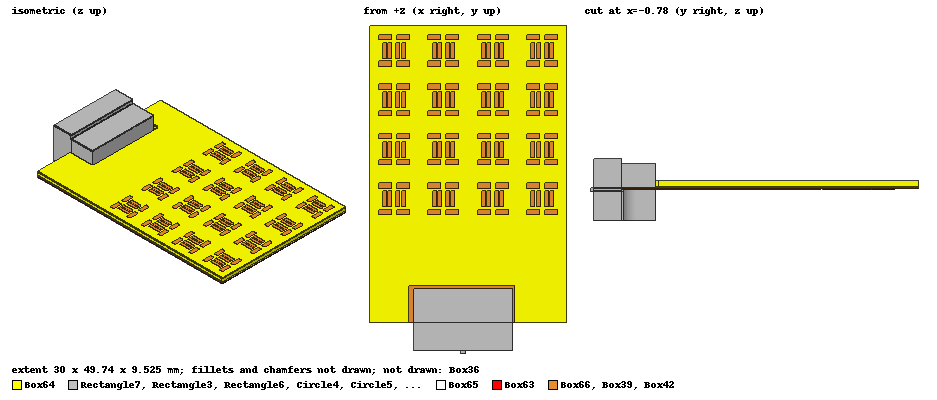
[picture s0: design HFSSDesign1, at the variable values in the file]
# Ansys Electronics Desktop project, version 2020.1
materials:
  vacuum: permittivity=1
  Rogers RT/duroid 5880 (tm): permittivity=2.2 dielectric_loss_tangent=0.0009
  pec: conductivity=1e+30
  Rogers RO4350 (tm): permittivity=3.66 dielectric_loss_tangent=0.004
  copper: permeability=0.999991 conductivity=58000000
  Material1: permittivity=6.5
  air: permittivity=1.0006 permeability=1.0000004
  Rogers RT/duroid 6002 (tm): permittivity=2.94 dielectric_loss_tangent=0.0012
  RO4450: permittivity=3.52
  Rogers RO3003 (tm): permittivity=3 dielectric_loss_tangent=0.0013
  Rogers RT/duroid 6006 (tm): permittivity=6.15 dielectric_loss_tangent=0.0019
  Rogers RO4003 (tm): permittivity=3.55 dielectric_loss_tangent=0.0027
  Rogers RT/duroid 6010/6010LM (tm): permittivity=10.2 dielectric_loss_tangent=0.0023
  FR-27: permittivity=2.7
  titanium: permeability=1.00018 conductivity=1820000
  Taconic RF-30 (tm): permittivity=3 dielectric_loss_tangent=0.0014
  TPN-30: permittivity=3
  Rogers RO3006 (tm): permittivity=6.15 dielectric_loss_tangent=0.0025
  RO3001: permittivity=2.2
  Rogers RO4232 (tm): permittivity=3.2 dielectric_loss_tangent=0.0018
  RO4403: permittivity=3.17
  FR-25: permittivity=2.5
  Teflon(changed): permittivity=3.5
  perfect conductor: conductivity=1e+30
  teflon(change): permittivity=1.95 dielectric_loss_tangent=0.001

design HFSSDesign1 (HFSS, DrivenModal, model units mm)
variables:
  hf = 0.762mm
  sub_l = 7.5mm
  h1 = 0.762mm
  wf = 0.36mm  # 0.25
  h3 = 0.127mm
  hp1 = 4.9mil
  hp2 = (2.1*5) mil
  t = 0.035mm
  w1 = 0.43mm  # 0.45
  l2 = 6.7mm  # 6
  w2 = wm  # 1.6
  l5 = 0.3mm  # 0.5
  lf = 2.6mm
  lm = 1.78mm
  wm = 0.26mm  # 0.26
  r2 = 0.15mm
  dvia = 2mm
  we = 0.8mm
  le = 1.95mm
  dvia1 = 0.8mm
  lb = 2.4mm
  wb = 0.6mm
  db = 0.3mm
  dd = 0.8mm
  ls = 1.6mm
  s = 7.5mm
  ll6 = s
  ll3 = s*2-ll7*2-v11
  ll7 = 1.6mm
  k1 = 0.25mm
  ll4 = 1mm
  ll2 = (2*s-v11)/2
  ll8 = 1mm
  v11 = 0.62mm
  l1 = 4.5mm
  l3 = 20mm
  d1 = 0.4mm
  di = 0.1mm
  kk = 0.36mm
  ss4 = 0.57mm
  ss3 = 0.2mm
  ss6 = 0.65mm
  ss5 = 2.2mm
  kk1 = 0.13mm
  l6 = 1.6mm
  l7 = 1mm
  c1 = 0.15mm  # qiejiao
  c2 = 3.13mm  # qiejiao
  c3 = (sub_l-wf)/2-wf/2
  c4 = 0.15mm
  c5 = 0.8mm
  c6 = 0.18mm
  cd = 0.05mm
  c7 = 0.15mm
  c8 = (sub_l-l6-wf*2)
  c9 = 0.15mm
  c10 = 0.24mm
  c11 = 0.8mm
  c12 = 0.24mm
  c13 = 0.8mm
  R1 = 0.0635mm
  Hco = 0.035mm
  Hsub1 = 0.127mm
  ELC_L4 = 4.88mm
  ELC_W1 = 15mm
  ELC_L5 = 1.175mm
  ELC_H1 = 4.8006mm
  ELC_L3 = 0.2mm
  ELC_R2 = 0.37465mm
  ELC_R3 = 2mm
  ELC_H2 = 3.6925mm
  ELC_L6 = 4.2418mm
  ELC_H3 = 9.525mm
  ELC_R4 = 0.1143mm
  ELC_L2 = 1.27mm
  Lex1 = 0mm
  Rex1 = 0.5mm
  Ro1 = 0.15mm
  ELC_d = 0.5mm
  cc = 0.1mm
  ro = 65deg
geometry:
  Box20 = box(corner=(-sub_l/2, -sub_l/2, t*2), size=(sub_l, sub_l, t))
  Box26 = box(corner=(-sub_l/2+lf, -wm/2, -h3+t), size=(lm, wm, t))
  Box29 = box(corner=(-w1/2, -l2/2, t*2), size=(w1, l2, t))
  Box35 = box(corner=(-sub_l/2+lf+lm, -w2/2, -h3+t), size=(l5, w2, t))
  Box36 [air] = box(corner=(-sub_l*2-2mm, -sub_l*4-6mm, -h3+t-6mm), size=(sub_l*4+4mm, sub_l*6+8mm, h3+h3+hp1+hf+h1+hp2+10mm))
  Box39 [copper] = box(corner=(-sub_l/2, -wf/2, -h3+t), size=(lf, wf, t))
  Box39.unite(Box35, Box26)
  Cylinder34 = cylinder(axis=Z, base_centre=(-dvia1, dvia, t*2-h3), radius=r2, height=hf+hp2+h3+t)
  Cylinder34_1 [copper] = Cylinder34.duplicate_mirror(point=(0mm, 0mm, 0mm), normal=(0mm, -1mm, 0mm))
  Box42 [copper] = box(corner=(-we/2+dvia1, dvia-we/2, 3*t+hf+hp2), size=(le, we, t))
  Box42_1 = Box42.duplicate_mirror(point=(0mm, 0mm, 0mm), normal=(0mm, -1mm, 0mm))
  [Box42_1, Box42].mirror(point=(0mm, 0mm, 0mm), normal=(-1mm, 0mm, 0mm))
  Box20.subtract(Box29)
  Cylinder34_1.unite(Cylinder34)
  Cylinder34_1_1 = Cylinder34_1.duplicate_mirror(point=(0mm, 0mm, 0mm), normal=(1mm, 0mm, 0mm))
  Box42.unite(Box42_1)
  Box42_2 = Box42.duplicate_mirror(point=(0mm, 0mm, 0mm), normal=(1mm, 0mm, 0mm))
  Box43 = box(corner=(db, -lb/2, 3*t+hf+hp2), size=(wb, lb, t))
  Box43_1 = Box43.duplicate_mirror(point=(0mm, 0mm, 0mm), normal=(-1mm, 0mm, 0mm))
  Box43_1.duplicate_along_line(step=(-dd, 0mm, 0mm), total=2, attached)
  Box43.duplicate_along_line(step=(dd, 0mm, 0mm), total=2, attached)
  [Box20, Box39, Cylinder34_1, Box42, Cylinder34_1_1, Box42_2, Box43, Box43_1].move(-sub_l*1.5, -sub_l*1.5, 0mm)
  Box20_1, Box20_2, Box20_3 = Box20.duplicate_along_line(step=(0mm, sub_l, 0mm), total=4)
  Box39_1, Box39_2, Box39_3 = Box39.duplicate_along_line(step=(0mm, sub_l, 0mm), total=4)
  Cylinder34_1_3, Cylinder34_1_4, Cylinder34_1_5 = Cylinder34_1.duplicate_along_line(step=(0mm, sub_l, 0mm), total=4)
  Box42_3, Box42_4, Box42_5 = Box42.duplicate_along_line(step=(0mm, sub_l, 0mm), total=4)
  Cylinder34_1_1_1, Cylinder34_1_1_2, Cylinder34_1_1_3 = Cylinder34_1_1.duplicate_along_line(step=(0mm, sub_l, 0mm), total=4)
  Box42_2_1, Box42_2_2, Box42_2_3 = Box42_2.duplicate_along_line(step=(0mm, sub_l, 0mm), total=4)
  Box43_2, Box43_3, Box43_4 = Box43.duplicate_along_line(step=(0mm, sub_l, 0mm), total=4)
  Box43_1_1, Box43_1_2, Box43_1_3 = Box43_1.duplicate_along_line(step=(0mm, sub_l, 0mm), total=4)
  Box20_4, Box20_5, Box20_6 = Box20.duplicate_along_line(step=(sub_l, 0mm, 0mm), total=4)
  Box39_4, Box39_5, Box39_6 = Box39.duplicate_along_line(step=(sub_l, 0mm, 0mm), total=4)
  Cylinder34_1_6, Cylinder34_1_7, Cylinder34_1_8 = Cylinder34_1.duplicate_along_line(step=(sub_l, 0mm, 0mm), total=4)
  Box42_6, Box42_7, Box42_8 = Box42.duplicate_along_line(step=(sub_l, 0mm, 0mm), total=4)
  Cylinder34_1_1_4, Cylinder34_1_1_5, Cylinder34_1_1_6 = Cylinder34_1_1.duplicate_along_line(step=(sub_l, 0mm, 0mm), total=4)
  Box42_2_4, Box42_2_5, Box42_2_6 = Box42_2.duplicate_along_line(step=(sub_l, 0mm, 0mm), total=4)
  Box43_5, Box43_6, Box43_7 = Box43.duplicate_along_line(step=(sub_l, 0mm, 0mm), total=4)
  Box43_1_4, Box43_1_5, Box43_1_6 = Box43_1.duplicate_along_line(step=(sub_l, 0mm, 0mm), total=4)
  Box20_1_1, Box20_1_2, Box20_1_3 = Box20_1.duplicate_along_line(step=(sub_l, 0mm, 0mm), total=4)
  Box20_2_1, Box20_2_2, Box20_2_3 = Box20_2.duplicate_along_line(step=(sub_l, 0mm, 0mm), total=4)
  Box20_3_1, Box20_3_2, Box20_3_3 = Box20_3.duplicate_along_line(step=(sub_l, 0mm, 0mm), total=4)
  Box39_1_1, Box39_1_2, Box39_1_3 = Box39_1.duplicate_along_line(step=(sub_l, 0mm, 0mm), total=4)
  Box39_2_1, Box39_2_2, Box39_2_3 = Box39_2.duplicate_along_line(step=(sub_l, 0mm, 0mm), total=4)
  Box39_3_1, Box39_3_2, Box39_3_3 = Box39_3.duplicate_along_line(step=(sub_l, 0mm, 0mm), total=4)
  Cylinder34_1_3_1, Cylinder34_1_3_2, Cylinder34_1_3_3 = Cylinder34_1_3.duplicate_along_line(step=(sub_l, 0mm, 0mm), total=4)
  Cylinder34_1_4_1, Cylinder34_1_4_2, Cylinder34_1_4_3 = Cylinder34_1_4.duplicate_along_line(step=(sub_l, 0mm, 0mm), total=4)
  Cylinder34_1_5_1, Cylinder34_1_5_2, Cylinder34_1_5_3 = Cylinder34_1_5.duplicate_along_line(step=(sub_l, 0mm, 0mm), total=4)
  Box42_3_1, Box42_3_2, Box42_3_3 = Box42_3.duplicate_along_line(step=(sub_l, 0mm, 0mm), total=4)
  Box42_4_1, Box42_4_2, Box42_4_3 = Box42_4.duplicate_along_line(step=(sub_l, 0mm, 0mm), total=4)
  Box42_5_1, Box42_5_2, Box42_5_3 = Box42_5.duplicate_along_line(step=(sub_l, 0mm, 0mm), total=4)
  Cylinder34_1_1_1_1, Cylinder34_1_1_1_2, Cylinder34_1_1_1_3 = Cylinder34_1_1_1.duplicate_along_line(step=(sub_l, 0mm, 0mm), total=4)
  Cylinder34_1_1_2_1, Cylinder34_1_1_2_2, Cylinder34_1_1_2_3 = Cylinder34_1_1_2.duplicate_along_line(step=(sub_l, 0mm, 0mm), total=4)
  Cylinder34_1_1_3_1, Cylinder34_1_1_3_2, Cylinder34_1_1_3_3 = Cylinder34_1_1_3.duplicate_along_line(step=(sub_l, 0mm, 0mm), total=4)
  Box42_2_1_1, Box42_2_1_2, Box42_2_1_3 = Box42_2_1.duplicate_along_line(step=(sub_l, 0mm, 0mm), total=4)
  Box42_2_2_1, Box42_2_2_2, Box42_2_2_3 = Box42_2_2.duplicate_along_line(step=(sub_l, 0mm, 0mm), total=4)
  Box42_2_3_1, Box42_2_3_2, Box42_2_3_3 = Box42_2_3.duplicate_along_line(step=(sub_l, 0mm, 0mm), total=4)
  Box43_2_1, Box43_2_2, Box43_2_3 = Box43_2.duplicate_along_line(step=(sub_l, 0mm, 0mm), total=4)
  Box43_3_1, Box43_3_2, Box43_3_3 = Box43_3.duplicate_along_line(step=(sub_l, 0mm, 0mm), total=4)
  Box43_4_1, Box43_4_2, Box43_4_3 = Box43_4.duplicate_along_line(step=(sub_l, 0mm, 0mm), total=4)
  Box43_1_1_1, Box43_1_1_2, Box43_1_1_3 = Box43_1_1.duplicate_along_line(step=(sub_l, 0mm, 0mm), total=4)
  Box43_1_2_1, Box43_1_2_2, Box43_1_2_3 = Box43_1_2.duplicate_along_line(step=(sub_l, 0mm, 0mm), total=4)
  Box43_1_3_1, Box43_1_3_2, Box43_1_3_3 = Box43_1_3.duplicate_along_line(step=(sub_l, 0mm, 0mm), total=4)
  Box61 = box(corner=(sub_l*1.5-ls, -sub_l*2, -h3+t), size=(-(sub_l/2-ls), sub_l*4, t))
  Box61_1, Box61_2, Box61_3 = Box61.duplicate_along_line(step=(-sub_l, 0mm, 0mm), total=4)
  Box61_4 = Box61.copy()
  Box61_1_1 = Box61_1.copy()
  Box61_2_1 = Box61_2.copy()
  Box61_3_1 = Box61_3.copy()
  Box39.subtract(Box61_4, Box61_1_1, Box61_2_1, Box61_3_1)
  Box61_5 = Box61.copy()
  Box61_1_2 = Box61_1.copy()
  Box61_2_2 = Box61_2.copy()
  Box61_3_2 = Box61_3.copy()
  Box39_1.subtract(Box61_5, Box61_1_2, Box61_2_2, Box61_3_2)
  Box61_6 = Box61.copy()
  Box61_1_3 = Box61_1.copy()
  Box61_2_3 = Box61_2.copy()
  Box61_3_3 = Box61_3.copy()
  Box39_1_1.subtract(Box61_6, Box61_1_3, Box61_2_3, Box61_3_3)
  Box61_7 = Box61.copy()
  Box61_1_4 = Box61_1.copy()
  Box61_2_4 = Box61_2.copy()
  Box61_3_4 = Box61_3.copy()
  Box39_1_2.subtract(Box61_7, Box61_1_4, Box61_2_4, Box61_3_4)
  Box61_8 = Box61.copy()
  Box61_1_5 = Box61_1.copy()
  Box61_2_5 = Box61_2.copy()
  Box61_3_5 = Box61_3.copy()
  Box39_1_3.subtract(Box61_8, Box61_1_5, Box61_2_5, Box61_3_5)
  Box61_9 = Box61.copy()
  Box61_1_6 = Box61_1.copy()
  Box61_2_6 = Box61_2.copy()
  Box61_3_6 = Box61_3.copy()
  Box39_2.subtract(Box61_9, Box61_1_6, Box61_2_6, Box61_3_6)
  Box61_10 = Box61.copy()
  Box61_1_7 = Box61_1.copy()
  Box61_2_7 = Box61_2.copy()
  Box61_3_7 = Box61_3.copy()
  Box39_2_1.subtract(Box61_10, Box61_1_7, Box61_2_7, Box61_3_7)
  Box61_11 = Box61.copy()
  Box61_1_8 = Box61_1.copy()
  Box61_2_8 = Box61_2.copy()
  Box61_3_8 = Box61_3.copy()
  Box39_2_2.subtract(Box61_11, Box61_1_8, Box61_2_8, Box61_3_8)
  Box61_12 = Box61.copy()
  Box61_1_9 = Box61_1.copy()
  Box61_2_9 = Box61_2.copy()
  Box61_3_9 = Box61_3.copy()
  Box39_2_3.subtract(Box61_12, Box61_1_9, Box61_2_9, Box61_3_9)
  Box61_13 = Box61.copy()
  Box61_1_10 = Box61_1.copy()
  Box61_2_10 = Box61_2.copy()
  Box61_3_10 = Box61_3.copy()
  Box39_3.subtract(Box61_13, Box61_1_10, Box61_2_10, Box61_3_10)
  Box61_14 = Box61.copy()
  Box61_1_11 = Box61_1.copy()
  Box61_2_11 = Box61_2.copy()
  Box61_3_11 = Box61_3.copy()
  Box39_3_1.subtract(Box61_14, Box61_1_11, Box61_2_11, Box61_3_11)
  Box61_15 = Box61.copy()
  Box61_1_12 = Box61_1.copy()
  Box61_2_12 = Box61_2.copy()
  Box61_3_12 = Box61_3.copy()
  Box39_3_2.subtract(Box61_15, Box61_1_12, Box61_2_12, Box61_3_12)
  Box61_16 = Box61.copy()
  Box61_1_13 = Box61_1.copy()
  Box61_2_13 = Box61_2.copy()
  Box61_3_13 = Box61_3.copy()
  Box39_3_3.subtract(Box61_16, Box61_1_13, Box61_2_13, Box61_3_13)
  Box61_17 = Box61.copy()
  Box61_1_14 = Box61_1.copy()
  Box61_2_14 = Box61_2.copy()
  Box61_3_14 = Box61_3.copy()
  Box39_4.subtract(Box61_17, Box61_1_14, Box61_2_14, Box61_3_14)
  Box61_18 = Box61.copy()
  Box61_1_15 = Box61_1.copy()
  Box61_2_15 = Box61_2.copy()
  Box61_3_15 = Box61_3.copy()
  Box39_5.subtract(Box61_18, Box61_1_15, Box61_2_15, Box61_3_15)
  Box39_6.subtract(Box61, Box61_1, Box61_2, Box61_3)
  Box39.unite(Box39_1, Box39_1_1, Box39_1_2, Box39_1_3, Box39_2, Box39_2_1, Box39_2_2, Box39_2_3, Box39_3, Box39_3_1, Box39_3_2, Box39_3_3, Box39_4, Box39_5, Box39_6)
  Box20_6.unite(Box20_5, Box20_4, Box20_3_3, Box20_3_2, Box20_3_1, Box20_3, Box20_2_3, Box20_2_2, Box20_2_1, Box20_2, Box20_1_3, Box20_1_2, Box20_1_1, Box20_1, Box20)
  coordinate_system RelativeCS3 = origin=(s/2+ll7+ll3/2+v11/2, k1-ll4+ll6/2+ll8+ll2, 0) x=(1mm, 0mm, 0mm) y=(0mm, 1mm, 0mm)
  coordinate_system RelativeCS4 = origin=(s/2, k1-ll4-v11/2+ll6/2, 0mm) x=(1mm, 0mm, 0mm) y=(0mm, 1mm, 0mm)
  Cylinder34_1.unite(Cylinder34_1_1, Cylinder34_1_1_1, Cylinder34_1_1_1_1, Cylinder34_1_1_1_2, Cylinder34_1_1_1_3, Cylinder34_1_1_2, Cylinder34_1_1_2_1, Cylinder34_1_1_2_2, Cylinder34_1_1_2_3, Cylinder34_1_1_3, Cylinder34_1_1_3_1, Cylinder34_1_1_3_2, Cylinder34_1_1_3_3, Cylinder34_1_1_4, Cylinder34_1_1_5, Cylinder34_1_1_6, Cylinder34_1_3, Cylinder34_1_3_1, Cylinder34_1_3_2, Cylinder34_1_3_3, Cylinder34_1_4, Cylinder34_1_4_1, Cylinder34_1_4_2, Cylinder34_1_4_3, Cylinder34_1_5, Cylinder34_1_5_1, Cylinder34_1_5_2, Cylinder34_1_5_3, Cylinder34_1_6, Cylinder34_1_7, Cylinder34_1_8)
  Box63 [Rogers RT/duroid 5880 (tm)] = box(corner=(-sub_l*2, -sub_l*4, -h3+t*2), size=(sub_l*4, sub_l*6, h3))
  Box64 [Rogers RT/duroid 5880 (tm)] = box(corner=(-sub_l*2, -sub_l*4, 3*t+hp2), size=(sub_l*4, sub_l*6, hf))
  Box65 [FR-25] = box(corner=(-sub_l*2, -sub_l*4, t*3), size=(sub_l*4, sub_l*6, hp2))
  Box42.unite(Box42_2, Box42_2_1, Box42_2_1_1, Box42_2_1_2, Box42_2_1_3, Box42_2_2, Box42_2_2_1, Box42_2_2_2, Box42_2_2_3, Box42_2_3, Box42_2_3_1, Box42_2_3_2, Box42_2_3_3, Box42_2_4, Box42_2_5, Box42_2_6, Box42_3, Box42_3_1, Box42_3_2, Box42_3_3, Box42_4, Box42_4_1, Box42_4_2, Box42_4_3, Box42_5, Box42_5_1, Box42_5_2, Box42_5_3, Box42_6, Box42_7, Box42_8, Box43, Box43_1, Box43_1_1, Box43_1_1_1, Box43_1_1_2, Box43_1_1_3, Box43_1_2, Box43_1_2_1, Box43_1_2_2, Box43_1_2_3, Box43_1_3, Box43_1_3_1, Box43_1_3_2, Box43_1_3_3, Box43_1_4, Box43_1_5, Box43_1_6, Box43_2, Box43_2_1, Box43_2_2, Box43_2_3, Box43_3, Box43_3_1, Box43_3_2, Box43_3_3, Box43_4, Box43_4_1, Box43_4_2, Box43_4_3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)
  Box66 [copper] = box(corner=(-sub_l*2, -sub_l*4, t*2), size=(sub_l*4, sub_l*2, t))
  coordinate_system RelativeCS5 = origin=(s/2+ll7+ll3/2+v11/2, k1-ll4+ll6/2+ll8+ll2, 0) x=(1mm, 0mm, 0mm) y=(0mm, 1mm, 0mm)
  coordinate_system RelativeCS6 = origin=(s/2, k1-ll4-v11/2+ll6/2, 0mm) x=(1mm, 0mm, 0mm) y=(0mm, 1mm, 0mm)
  coordinate_system RelativeCS7 = origin=(s/2+ll7+ll3/2+v11/2, k1-ll4+ll6/2+ll8+ll2, 0) x=(1mm, 0mm, 0mm) y=(0mm, 1mm, 0mm)
  coordinate_system RelativeCS8 = origin=(s/2, k1-ll4-v11/2+ll6/2, 0mm) x=(1mm, 0mm, 0mm) y=(0mm, 1mm, 0mm)
  k3 = cylinder(axis=Z, base_centre=(-ss5, v11/2+ss6, -h3+t*2), radius=di, height=h3+t)
  k3_7, k3_1..k3_6 = k3.duplicate_along_line(step=(-kk, kk1, 0mm), total=8)
  k2 = cylinder(axis=Z, base_centre=(-ss5, -v11/2-ss6, -h3+t*2), radius=di, height=h3+t)
  k2_1..k2_7 = k2.duplicate_along_line(step=(-kk, -kk1, 0mm), total=8)
  k1 = cylinder(axis=Z, base_centre=(-ss3, v11/2+ss4, -h3+t*2), radius=di, height=h3+t)
  k1_1..k1_12 = k1.duplicate_along_line(step=(0mm, d1, 0mm), total=14)  # copies kept: 1..12
  k1_14..k1_17 = k1.duplicate_along_line(step=(-d1, 0mm, 0mm), total=5)
  k = cylinder(axis=Z, base_centre=(-ss3, -v11/2-ss4, -h3+t*2), radius=di, height=h3+t)
  k_1..k_12 = k.duplicate_along_line(step=(0mm, -d1, 0mm), total=14)  # copies kept: 1..12
  k_14..k_17 = k.duplicate_along_line(step=(-d1, 0mm, 0mm), total=6)  # copies kept: 1..4
  k3_7.unite(k3_6, k3_5, k3_4, k3_3, k3_2, k3_1, k3, k2_7, k2_6, k2_5, k2_4, k2_3, k2_2, k2_1, k2, k1_17, k1_16, k1_14, k1_15, k1_12, k1_11, k1_10, k1_8, k1_9, k1_7, k1_6, k1_5, k1_4, k1_3, k1_2, k1_1, k_17, k1, k_16, k_15, k_14, k_12, k_11, k_10, k_9, k_8, k_7, k_6, k_5, k_4, k_3, k_2, k_1, k)
  Box67 = box(corner=(sub_l*1.5-ls, sub_l/2-wf/2, -h3+t), size=(-wf, sub_l+wf, t))
  Box67_1 = Box67.duplicate_along_line(step=(-sub_l, 0mm, 0mm), total=2)
  Box68 = box(corner=(sub_l/2-ls, sub_l-wf/2, -h3+t), size=(sub_l, wf, t))
  Box69 = box(corner=(sub_l-ls-wf, sub_l-wf/2, -h3+t), size=(wf, -l6, t))
  Box70 = box(corner=(sub_l-ls-wf, sub_l-wf/2-l6-wf, -h3+t), size=(l7, wf, t))
  Box71 = box(corner=(sub_l-ls-wf+l7, sub_l-wf/2-l6, -h3+t), size=(wf, -(sub_l-wf/2-l6), t))
  Box72 = box(corner=(sub_l*1.5-ls, sub_l-wf/2, -h3+t), size=(-c1, -c2, t))
  Box73 = box(corner=(sub_l*1.5-ls-wf, sub_l-wf/2, -h3+t), size=(c1, -c2, t))
  Box73.chamfer(Edges=Box72_1.edge(10 of 12) LeftDistance=atan(c2/c1) RightDistance=c1 ChamferType="Right Distance-Angle")
  Box72.chamfer(Edges=Box72_1.edge(9 of 12) LeftDistance=c1 RightDistance=atan(c2/c1) ChamferType="Left Distance-Angle")
  Box72.unite(Box73)
  Box72_1 = Box72.duplicate_mirror(point=(0mm, sub_l, 0mm), normal=(0mm, 1mm, 0mm))
  Box72_1.unite(Box72)
  Box72_1.duplicate_along_line(step=(-sub_l, 0mm, 0mm), total=2, attached)
  Box74 = box(corner=(sub_l-ls, sub_l-wf/2, -h3+t), size=(c3, c4, t))
  Box75 = box(corner=(sub_l-ls, sub_l+wf/2, -h3+t), size=(c3, -c4, t))
  Box74.chamfer(Edges=Box74.edge(12 of 12) LeftDistance=c3 RightDistance=atan(c4/c3) ChamferType="Left Distance-Angle")
  Box75.chamfer(Edges=Box74.edge(10 of 12) LeftDistance=atan(c4/c3) RightDistance=c3 ChamferType="Right Distance-Angle")
  Box74.unite(Box75)
  Box74_1 = Box74.duplicate_mirror(point=(sub_l-ls-wf/2, 0mm, 0mm), normal=(-1mm, 0mm, 0mm))
  Box76 = box(corner=(sub_l*1.5-ls, sub_l-c5/2, -h3+t), size=(-c6-cd, c5, t))
  Box76.chamfer(Edges=Box76.edge(11 of 12) LeftDistance=atan(c5/2/c6) RightDistance=c6 ChamferType="Right Distance-Angle")
  Box76.chamfer(Edges=Box76.edge(9 of 12) LeftDistance=c6 RightDistance=atan(c5/2/c6) ChamferType="Left Distance-Angle")
  Box77 = box(corner=(sub_l-ls-c5/2-wf/2, sub_l+wf/2, -h3+t), size=(c5, -c6-cd, t))
  Box77.chamfer(Edges=Box77.edge(9 of 12) LeftDistance=atan(c5/2/c6) RightDistance=c6 ChamferType="Right Distance-Angle")
  Box77.chamfer(Edges=Box77.edge(10 of 12) LeftDistance=c6 RightDistance=atan(c5/2/c6) ChamferType="Left Distance-Angle")
  Box67.unite(Box71, Box70, Box69, Box67_1, Box68)
  Box76_1 = Box76.duplicate_mirror(point=(sub_l-ls-wf/2, 0mm, 0mm), normal=(-1mm, 0mm, 0mm))
  Box67.subtract(Box72_1, Box74, Box74_1, Box76, Box76_1, Box77)
  Box67.chamfer(Edges=Box39.edge(12 of 12) LeftDistance=wf RightDistance=wf ChamferType=Symmetric)
  Box67.chamfer(Edges=Box39.edge(9 of 12) LeftDistance=wf RightDistance=wf ChamferType=Symmetric)
  Box67_2 = Box67.duplicate_mirror(point=(0mm, 0mm, 0mm), normal=(0mm, -1mm, 0mm))
  Box67_2.unite(Box67)
  Box67_2.duplicate_along_line(step=(-sub_l*2, 0mm, 0mm), total=2, attached)
  Box78 = box(corner=(sub_l-ls-wf+l7, -wf/2, -h3+t), size=(-sub_l*2, wf, t))
  Box79 = box(corner=(-ls-wf+l7, -sub_l*4, -h3+t), size=(wf, sub_l*4, t))
  Box80 = box(corner=(sub_l-ls-wf+l7, -wf/2-c8, -h3+t), size=(c7, c8, t))
  Box81 = box(corner=(sub_l-ls+l7, -wf/2-c8, -h3+t), size=(-c7, c8, t))
  Box81.chamfer(Edges=Box81_1.edge(9 of 12) LeftDistance=c7 RightDistance=atan(c8/c7) ChamferType="Left Distance-Angle")
  Box80.chamfer(Edges=Box81_1.edge(10 of 12) LeftDistance=atan(c8/c7) RightDistance=c7 ChamferType="Right Distance-Angle")
  Box81.unite(Box80)
  Box81_1 = Box81.duplicate_mirror(point=(0mm, 0mm, 0mm), normal=(0mm, 1mm, 0mm))
  Box81_1.unite(Box81)
  Box81_1.duplicate_along_line(step=(-sub_l*2, 0mm, 0mm), total=2, attached)
  Box82 = box(corner=(-ls+l7, -wf/2, -h3+t), size=(sub_l-wf, c9, t))
  Box82_1 = Box82.duplicate_mirror(point=(0mm, 0mm, 0mm), normal=(0mm, 1mm, 0mm))
  Box82.chamfer(Edges=Box82.edge(12 of 12) LeftDistance=atan((sub_l-wf)/c9) RightDistance=c9 ChamferType="Right Distance-Angle")
  Box82_1.chamfer(Edges=Box82.edge(12 of 12) LeftDistance=c9 RightDistance=atan((sub_l-wf)/c9) ChamferType="Left Distance-Angle")
  Box82.unite(Box82_1)
  Box82_2 = Box82.duplicate_mirror(point=(-ls-wf/2+l7, 0mm, 0mm), normal=(-1mm, 0mm, 0mm))
  Box83 = box(corner=(sub_l-ls+l7, -c11/2, -h3+t), size=(-c10-cd, c11, t))
  Box83.chamfer(Edges=Box83.edge(9 of 12) LeftDistance=c10 RightDistance=atan(c11/2/c10) ChamferType="Left Distance-Angle")
  Box83.chamfer(Edges=Box83.edge(11 of 12) LeftDistance=atan(c11/2/c10) RightDistance=c10 ChamferType="Right Distance-Angle")
  Box83_1 = Box83.duplicate_mirror(point=(-ls-wf/2+l7, 0mm, 0mm), normal=(-1mm, 0mm, 0mm))
  Box84 = box(corner=(-ls-wf/2+l7-c13/2, wf/2, -h3+t), size=(c13, -c12-cd, t))
  Box84.chamfer(Edges=Box84.edge(9 of 12) LeftDistance=atan(c13/2/c12) RightDistance=c12 ChamferType="Right Distance-Angle")
  Box84.chamfer(Edges=Box84.edge(10 of 12) LeftDistance=c12 RightDistance=atan(c13/2/c12) ChamferType="Left Distance-Angle")
  Box81_1_1 = Box81_1.copy()
  Box82_3 = Box82.copy()
  Box82_2_1 = Box82_2.copy()
  Box83_2 = Box83.copy()
  Box83_1_1 = Box83_1.copy()
  Box84_1 = Box84.copy()
  Box67_2.subtract(Box81_1_1, Box82_3, Box82_2_1, Box83_2, Box83_1_1, Box84_1)
  Box81_1_2 = Box81_1.copy()
  Box82_4 = Box82.copy()
  Box82_2_2 = Box82_2.copy()
  Box83_3 = Box83.copy()
  Box83_1_2 = Box83_1.copy()
  Box84_2 = Box84.copy()
  Box78.subtract(Box81_1_2, Box82_4, Box82_2_2, Box83_3, Box83_1_2, Box84_2)
  Box79.subtract(Box81_1, Box82, Box82_2, Box83, Box83_1, Box84)
  Box67_2.unite(Box78, Box79)
  Box39.unite(Box67_2)
  k3_7.rotate(axis=Z, angle=-90deg)
  k3_7.move(-ls-wf/2+l7, -sub_l*6, 0mm)
  k3_7_3 = k3_7.duplicate_along_line(step=(0mm, cd, 0mm), total=2)
  k3_7.delete()
  k3_7_3.move(0mm, -cd, 0mm)
  k3_7_3_3 = k3_7_3.copy()
  k3_7_3.delete()
  Box65.subtract(k3_7_3_3)
  Cylinder34_1_9 = Cylinder34_1.duplicate_along_line(step=(0mm, cd, 0mm), total=2)
  Cylinder34_1_9.move(0mm, -cd, 0mm)
  Box39.chamfer(Edges=Box39.edge(144 of 147) LeftDistance=wf RightDistance=wf ChamferType=Symmetric)
  Box39.chamfer(Edges=Box39.edge(143 of 147) LeftDistance=wf RightDistance=wf ChamferType=Symmetric)
  Box39.chamfer(Edges=Box39.edge(11 of 12) LeftDistance=wf RightDistance=wf ChamferType=Symmetric)
  Box39.chamfer(Edges=Box39.edge(138 of 147) LeftDistance=wf RightDistance=wf ChamferType=Symmetric)
  Box39.chamfer(Edges=Box39.edge(137 of 147) LeftDistance=wf RightDistance=wf ChamferType=Symmetric)
  Box39.chamfer(Edges=Box39.edge(9 of 12) LeftDistance=wf RightDistance=wf ChamferType=Symmetric)
  Box39.chamfer(Edges=Box39.edge(11 of 12) LeftDistance=wf RightDistance=wf ChamferType=Symmetric)
  Box39.chamfer(Edges=Box39.edge(#228655) LeftDistance=wf RightDistance=wf ChamferType=Symmetric)
  Box39.chamfer(Edges=Box39.edge(#228654) LeftDistance=wf RightDistance=wf ChamferType=Symmetric)
  Box39.chamfer(Edges=Box39.edge(#228379) LeftDistance=wf RightDistance=wf ChamferType=Symmetric)
  Box39.chamfer(Edges=Box39.edge(#228381) LeftDistance=wf RightDistance=wf ChamferType=Symmetric)
  Box39.chamfer(Edges=Box39.edge(#228649) LeftDistance=wf RightDistance=wf ChamferType=Symmetric)
  Box39.chamfer(Edges=Box39.edge(#228648) LeftDistance=wf RightDistance=wf ChamferType=Symmetric)
  Box39.chamfer(Edges=Box39.edge(#228387) LeftDistance=wf RightDistance=wf ChamferType=Symmetric)
  Box39.chamfer(Edges=Box39.edge(#228389) LeftDistance=wf RightDistance=wf ChamferType=Symmetric)
  Box39.chamfer(Edges=Box39.edge(9 of 12) LeftDistance=wf RightDistance=wf ChamferType=Symmetric)
  Box85 = box(corner=(7mm, -sub_l*4, t*3), size=(-16mm, 5.5mm, hp2+hf))
  Box85_1 = Box85.copy()
  Box64.subtract(Box85_1)
  Box65.subtract(Box85)
  Cylinder34_1_9_1 = Cylinder34_1_9.copy()
  Box63.subtract(Cylinder34_1_9_1)
  coordinate_system RelativeCS1 = origin=(0mm, 0mm, Hsub1+Hco+R1) x=(1mm, 0mm, 0mm) y=(0mm, 1mm, 0mm)
  Rectangle3 [perfect conductor] = rectangle(corner=(-ELC_W1/2, 0mm, 0mm), z_size=ELC_H1, x_size=ELC_W1) in RelativeCS1
  Rectangle3.thicken(ELC_L3)
  Circle2 = circle(normal=Y, centre=(0mm, 0mm, 0mm), radius=ELC_R2) in RelativeCS1
  Circle2.split(plane=XY, keep=PositiveOnly) in RelativeCS1
  Circle2.thicken(ELC_L3)
  Rectangle3.subtract(Circle2)
  Rectangle4 = rectangle(corner=(-ELC_W1/2, ELC_L3, 0mm), z_size=ELC_H1, x_size=ELC_W1) in RelativeCS1
  Rectangle4.thicken(ELC_L4)
  Rectangle5 = rectangle(corner=(-ELC_L5-ELC_R3, ELC_L3, 0mm), x_size=ELC_L5+ELC_R3, y_size=ELC_L4) in RelativeCS1
  Rectangle5.thicken(ELC_H1)
  Rectangle5_1 = Rectangle5.duplicate_mirror(point=(0mm, 0mm, 0mm), normal=(1mm, 0mm, 0mm)) in RelativeCS1
  Rectangle4.subtract(Rectangle5, Rectangle5_1)
  Polyline1 = polyline(z=0mm, xy: (-ELC_L5, ELC_L3) (-2.5892136mm, 0.78578644mm) (-3.175mm, 2.2mm), AngularArc from point 0 over 3 centre=(-ELC_L5, ELC_L3+ELC_R3, 0mm) angle=-90deg plane=XY) in RelativeCS1
  Polyline2 = polyline(z=0mm, xy: (-ELC_L5-ELC_R3, ELC_L3+ELC_R3) (-ELC_L5-ELC_R3, ELC_L3) (-ELC_L5, ELC_L3)) in RelativeCS1
  Polyline1.unite(Polyline2)
  Polyline1.cover_lines()
  Polyline1.thicken(ELC_H1)
  Polyline1_1 = Polyline1.duplicate_mirror(point=(0mm, 0mm, 0mm), normal=(1mm, 0mm, 0mm)) in RelativeCS1
  Rectangle3.unite(Rectangle4, Polyline1, Polyline1_1)
  Rectangle3.move(0mm, 0mm, -0.0615mm)
  Rectangle6 [perfect conductor] = rectangle(corner=(-ELC_W1/2, 0mm, -Hco), x_size=ELC_W1, y_size=ELC_L3+ELC_L4)
  Rectangle6.thicken(-ELC_H2)
  Rectangle7 [perfect conductor] = rectangle(corner=(-ELC_W1/2, 0mm, -ELC_H3/2), z_size=ELC_H3, x_size=ELC_W1) in RelativeCS1
  Rectangle7.thicken(-ELC_L6)
  Circle3 = circle(normal=Y, centre=(0mm, 0mm, 0mm), radius=ELC_R2) in RelativeCS1
  Circle3.thicken(-ELC_L6)
  Rectangle7.subtract(Circle3)
  Circle4 [teflon(change)] = circle(normal=Y, centre=(0mm, 0mm, 0mm), radius=ELC_R2) in RelativeCS1
  Circle4.thicken(-ELC_L6)
  Circle6 = circle(normal=Y, centre=(0mm, 0mm, 0mm), radius=ELC_R4) in RelativeCS1
  Circle6.thicken(-ELC_L6)
  Circle4.subtract(Circle6)
  Circle5 [perfect conductor] = circle(normal=Y, centre=(0mm, 0mm, 0mm), radius=ELC_R4) in RelativeCS1
  Circle5.thicken(-ELC_L6)
  Circle1 = circle(normal=Y, centre=(0mm, 0mm, 0mm), radius=R1) in RelativeCS1
  Circle1.thicken(ELC_L2)
  Circle5.unite(Circle1)
  port1 = circle(normal=Y, centre=(0mm, -ELC_L6, 0mm), radius=ELC_R2) in RelativeCS1
  port1_1 [perfect conductor] = circle(normal=Y, centre=(0mm, -ELC_L6, 0mm), radius=ELC_R2) in RelativeCS1
  port1_1.thicken(-0.5mm)
  Polyline4 [copper] = polyline((-ELC_R2-Lex1, 0mm, Hsub1) (-0.52109661mm, 0.35355339mm, 0.127mm) (-0.87465mm, 0.5mm, 0.127mm), AngularArc from point 0 over 3 centre=(-ELC_R2-Rex1-Lex1, 0mm, Hsub1) angle=90deg plane=XY)
  Polyline5 = polyline(z=Hsub1, xy: (-Rex1-ELC_R2-Lex1, Rex1) (-Rex1-ELC_R2-Lex1, 0mm) (-ELC_R2-Lex1, 0mm))
  Polyline4.unite(Polyline5)
  Polyline4.cover_lines()
  Rectangle8 = rectangle(corner=(-Rex1-ELC_R2-Lex1, 0mm, Hsub1), x_size=-ELC_W1/2+Rex1+ELC_R2+Lex1, y_size=Rex1)
  Polyline4.unite(Rectangle8)
  Polyline4.thicken(Hco)
  Polyline4_1 = Polyline4.duplicate_mirror(point=(0mm, 0mm, 0mm), normal=(1mm, 0mm, 0mm))
  Rectangle9 = rectangle(corner=(-4mm, 0.5mm, Hsub1), x_size=-3.5mm, y_size=4.58mm)
  Rectangle9.thicken(-Hco)
  Rectangle9_1 = Rectangle9.duplicate_mirror(point=(0mm, 0mm, 0mm), normal=(1mm, 0mm, 0mm))
  Polyline4.unite(Polyline4_1, Rectangle9, Rectangle9_1)
  Circle11 = circle(normal=Z, centre=(-ELC_R2-Lex1-0.4mm, 0.25mm, 0mm), radius=Ro1)
  Circle11.thicken(Hsub1)
  Circle11_1 = Circle11.duplicate_along_line(step=(-ELC_d, 0mm, 0mm), total=2)
  Circle11_2 [perfect conductor] = Circle11.duplicate_mirror(point=(0mm, 0mm, 0mm), normal=(1mm, 0mm, 0mm))
  Circle11_1_1 = Circle11_1.duplicate_along_line(step=(-ELC_d, 0mm, 0mm), total=2)
  Circle11_1_2 = Circle11_1.duplicate_mirror(point=(0mm, 0mm, 0mm), normal=(1mm, 0mm, 0mm))
  Circle11_1_1_1 = Circle11_1_1.duplicate_along_line(step=(-ELC_d, 0mm, 0mm), total=2)
  Circle11_1_1_2 = Circle11_1_1.duplicate_mirror(point=(0mm, 0mm, 0mm), normal=(1mm, 0mm, 0mm))
  Circle11_1_1_1_1 = Circle11_1_1_1.duplicate_mirror(point=(0mm, 0mm, 0mm), normal=(1mm, 0mm, 0mm))
  Circle11_2.unite(Circle11_1_2, Circle11_1_1_2, Circle11_1_1_1_1, Circle11_1_1_1, Circle11_1_1, Circle11_1, Circle11)
  [Rectangle3, Rectangle6, Rectangle7, Circle4, Circle5, port1_1, Polyline4, Circle11_2, port1].rotate(axis=Y, angle=180deg)
  [Rectangle3, Rectangle6, Rectangle7, Circle4, Circle5, port1_1, Polyline4, Circle11_2, port1].move(-0.78mm, -30mm, 2*t)
  Box39.chamfer(Edges=Box39.edge(10 of 12) LeftDistance=ro RightDistance=cc ChamferType="Right Distance-Angle")
  Box39.chamfer(Edges=Box39.edge(9 of 12) LeftDistance=cc RightDistance=ro ChamferType="Left Distance-Angle")
  Box66.unite(Box20_6)
  Cylinder34_1_9_2 = Cylinder34_1_9.copy()
  Box63.subtract(Cylinder34_1_9_2)
  Cylinder34_1_9_3 = Cylinder34_1_9.copy()
  Box64.subtract(Cylinder34_1_9_3)
  Cylinder34_1_9_4 = Cylinder34_1_9.copy()
  Box65.subtract(Cylinder34_1_9_4)
  Box66.subtract(Cylinder34_1_9)
  group Group1 = Rectangle3, Rectangle6, Rectangle7, Circle4, Circle5, port1_1, Polyline4, Circle11_2
  group Group2 = port1
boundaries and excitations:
  Rad1: Radiation Objects=Box36
  1: Wave Port Objects=port1 NumModes=1 Modes{Mode1{CharImp=Zpi RenormImp=50ohm}}
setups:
  Setup1: HfssDriven Frequency=30GHz MaxDeltaS=0.02 MaximumPasses=20 MinimumPasses=1 MinimumConvergedPasses=1 PercentRefinement=30 BasisOrder=1 PortAccuracy=2
    sweep Sweep1: 25GHz to 60GHz, 176 points; Type=Discrete SaveFields
  25: HfssDriven Frequency=25GHz MaxDeltaS=0.02 MaximumPasses=20 MinimumPasses=1 MinimumConvergedPasses=1 PercentRefinement=30 BasisOrder=1 PortAccuracy=2
  35: HfssDriven Frequency=35GHz MaxDeltaS=0.02 MaximumPasses=20 MinimumPasses=1 MinimumConvergedPasses=1 PercentRefinement=30 BasisOrder=1 PortAccuracy=2
  45: HfssDriven Frequency=45GHz MaxDeltaS=0.02 MaximumPasses=20 MinimumPasses=1 MinimumConvergedPasses=1 PercentRefinement=30 BasisOrder=1 PortAccuracy=2
  55: HfssDriven Frequency=55GHz MaxDeltaS=0.02 MaximumPasses=20 MinimumPasses=1 MinimumConvergedPasses=1 PercentRefinement=30 BasisOrder=1 PortAccuracy=2
  50: HfssDriven Frequency=50GHz MaxDeltaS=0.02 MaximumPasses=20 MinimumPasses=1 MinimumConvergedPasses=1 PercentRefinement=30 BasisOrder=1 PortAccuracy=2
  40: HfssDriven Frequency=40GHz MaxDeltaS=0.02 MaximumPasses=20 MinimumPasses=1 MinimumConvergedPasses=1 PercentRefinement=30 BasisOrder=1 PortAccuracy=2
  60: HfssDriven Frequency=60GHz MaxDeltaS=0.02 MaximumPasses=20 MinimumPasses=1 MinimumConvergedPasses=1 PercentRefinement=30 BasisOrder=1 PortAccuracy=2
  28: HfssDriven Frequency=28GHz MaxDeltaS=0.02 MaximumPasses=20 MinimumPasses=1 MinimumConvergedPasses=1 PercentRefinement=30 BasisOrder=1 PortAccuracy=2
  32: HfssDriven Frequency=32GHz MaxDeltaS=0.02 MaximumPasses=20 MinimumPasses=1 MinimumConvergedPasses=1 PercentRefinement=30 BasisOrder=1 PortAccuracy=2
  38: HfssDriven Frequency=38GHz MaxDeltaS=0.02 MaximumPasses=20 MinimumPasses=1 MinimumConvergedPasses=1 PercentRefinement=30 BasisOrder=1 PortAccuracy=2
  44: HfssDriven Frequency=44GHz MaxDeltaS=0.02 MaximumPasses=20 MinimumPasses=1 MinimumConvergedPasses=1 PercentRefinement=30 BasisOrder=1 PortAccuracy=2
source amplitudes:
  1:1: 1W 0deg
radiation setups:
  Infinite Sphere1: Infinite Sphere Theta=0deg..0deg step 0deg Phi=0deg..0deg step 0deg
  Infinite Sphere2: Infinite Sphere Theta=-180deg..180deg step 0.5deg Phi=0deg..90deg step 90deg
  Infinite Sphere3: Infinite Sphere Theta=-180deg..180deg step 2deg Phi=-180deg..180deg step 2deg
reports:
  S Parameter Plot 1: dB(S(1,1)) vs Freq on Setup1 : Sweep1; markers m1 at 46.315789GHz, m2 at 31.206897GHz, MY1 at y=-10
  30: dB(RealizedGainTotal) vs Theta on Setup1 : LastAdaptive, Infinite Sphere2 [Phi=all Freq=30GHz]; markers m1 at 0deg
  Realized Gain Plot 1: dB(RealizedGainTotal) vs Freq on Setup1 : Sweep1, Infinite Sphere1 [Phi=all Theta=all w1=all wm=all]; markers m1 at 42GHz, m2 at 46GHz, m3 at 50GHz, m4 at 32.2GHz, MY1 at y=17.0345
  25: dB(RealizedGainTotal) vs Theta on 25 : LastAdaptive, Infinite Sphere2 [Phi=all Freq=25GHz w1=all wm=all]; markers m1 at 0deg
  35: dB(RealizedGainTotal) vs Theta on 35 : LastAdaptive, Infinite Sphere2 [Phi=all Freq=35GHz w1=all wm=all]; markers m1 at 0deg
  45: dB(RealizedGainTotal) vs Theta on 45 : LastAdaptive, Infinite Sphere2 [Phi=all Freq=45GHz w1=all wm=all]; markers m1 at 0deg
  55: dB(RealizedGainTotal) vs Theta on 55 : LastAdaptive, Infinite Sphere2 [Phi=all Freq=55GHz w1=all wm=all]; markers m1 at 0deg
  50: dB(RealizedGainTotal) vs Theta on 50 : LastAdaptive, Infinite Sphere2 [Phi=all Freq=50GHz w1=all wm=all]; markers m1 at 0deg
  40: dB(RealizedGainTotal) vs Theta on 40 : LastAdaptive, Infinite Sphere2 [Phi=all Freq=40GHz w1=all wm=all]; markers m1 at 0deg
  S Parameter Plot 2: dB(S(1,1)) vs Freq on Setup1 : Sweep1 [w1=all]; markers MY1 at y=-10
  Realized Gain Plot 2: dB(RealizedGainTotal) vs Theta on 60 : LastAdaptive, Infinite Sphere2 [Phi=all Freq=60GHz]; markers m1 at -1deg
  Realized Gain Plot 3: dB(RealizedGainPhi) vs Theta on Setup1 : LastAdaptive, Infinite Sphere2 [Phi=all Freq=30GHz]; dB(RealizedGainTheta) vs Theta on 50 : LastAdaptive, Infinite Sphere2 [Phi=all Freq=50GHz]
  Realized Gain Plot 4: dB(RealizedGainPhi), dB(RealizedGainTheta) vs Theta on 28 : LastAdaptive, Infinite Sphere2 [Phi=all Freq=28GHz]
  Realized Gain Plot 5: dB(RealizedGainPhi), dB(RealizedGainTheta) vs Theta on 32 : LastAdaptive, Infinite Sphere2 [Phi=all Freq=32GHz]
  Realized Gain Plot 6: dB(RealizedGainPhi), dB(RealizedGainTheta) vs Theta on 38 : LastAdaptive, Infinite Sphere2 [Phi=all Freq=38GHz]
  Realized Gain Plot 7: dB(RealizedGainPhi), dB(RealizedGainTheta) vs Theta on 44 : LastAdaptive, Infinite Sphere2 [Phi=all Freq=44GHz]
  Realized Gain Plot 8: dB(RealizedGainPhi), dB(RealizedGainTheta) vs Theta on Setup1 : LastAdaptive, Infinite Sphere2 [Phi=all Freq=30GHz]
  Realized Gain Plot 9: dB(RealizedGainPhi), dB(RealizedGainTheta) vs Theta on 35 : LastAdaptive, Infinite Sphere2 [Phi=all Freq=35GHz]
  Realized Gain Plot 10: dB(RealizedGainPhi), dB(RealizedGainTheta) vs Theta on 40 : LastAdaptive, Infinite Sphere2 [Phi=all Freq=40GHz]
  Realized Gain Plot 11: dB(RealizedGainPhi), dB(RealizedGainTheta) vs Theta on 45 : LastAdaptive, Infinite Sphere2 [Phi=all Freq=45GHz]
  Realized Gain Plot 12: dB(RealizedGainPhi), dB(RealizedGainTheta) vs Theta on 50 : LastAdaptive, Infinite Sphere2 [Phi=all Freq=50GHz]
  Antenna Params Plot 1: RadiationEfficiency vs Freq on Setup1 : LastAdaptive; markers m1 at 30GHz
